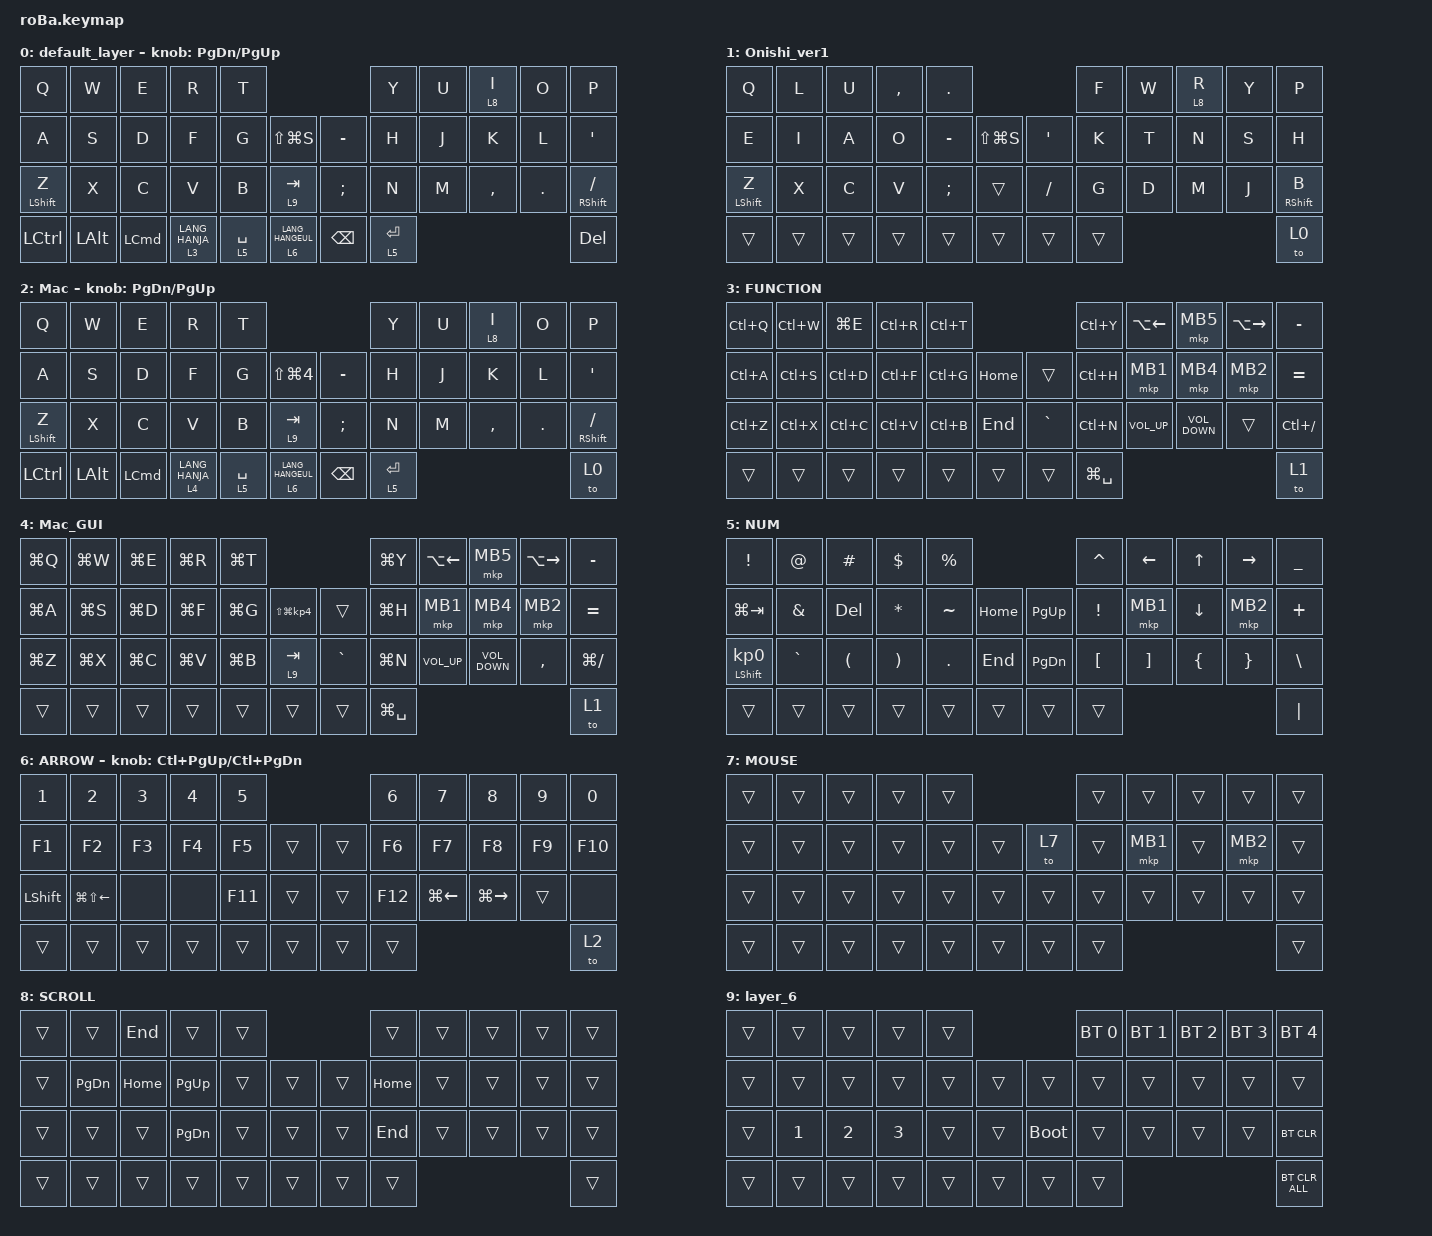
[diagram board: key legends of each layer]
#include <dt-bindings/zmk/mouse.h>
#include <behaviors.dtsi>
#include <dt-bindings/zmk/bt.h>
#include <dt-bindings/zmk/keys.h>
#include <dt-bindings/zmk/pointing.h>

#define MOUSE 7
#define SCROLL 8
#define NUM 9

&mt {
    flavor = "balanced";
    quick-tap-ms = <0>;
    tapping-term-ms = <150>;
};

/ {
    combos {
        compatible = "zmk,combos";

        double_quotation {
            bindings = <&kp DOUBLE_QUOTES>;
            key-positions = <20 21>;
        };

        eq {
            bindings = <&kp EQUAL>;
            key-positions = <24 25>;
        };

        ESC_ {
            bindings = <&kp ESC>;
            key-positions = <1 0>;
        };

        hyphen {
            bindings = <&kp MINUS>;
            key-positions = <9 8>;
        };
    };

    macros {
        to_layer_0: to_layer_0 {
            compatible = "zmk,behavior-macro-one-param";
            #binding-cells = <1>;
            bindings = <&to 0 &macro_param_1to1 &kp MACRO_PLACEHOLDER>;
            label = "TO_LAYER_0";
        };
    };

    behaviors {
        lt_to_layer_0: lt_to_layer_0 {
            compatible = "zmk,behavior-hold-tap";
            label = "LAYER_TAP_TO_0";
            bindings = <&mo>, <&lt_to_layer_0>;

            #binding-cells = <2>;
            tapping-term-ms = <150>;
        };
    };

    keymap {
        compatible = "zmk,keymap";

        default_layer {
            bindings = <
&kp Q             &kp W         &kp E             &kp R             &kp T                                             &kp Y        &kp U  &lt 8 I    &kp O    &kp P
&kp A             &kp S         &kp D             &kp F             &kp G        &kp LS(LG(S))         &kp MINUS      &kp H        &kp J  &kp K      &kp L    &kp SQT
&mt LEFT_SHIFT Z  &kp X         &kp C             &kp V             &kp B        &lt 9 TAB             &kp SEMICOLON  &kp N        &kp M  &kp COMMA  &kp DOT  &mt RIGHT_SHIFT SLASH
&kp LCTRL         &kp LEFT_ALT  &kp LEFT_COMMAND  &lt 3 LANG_HANJA  &lt 5 SPACE  &lt 6 LANG_HANGEUL    &kp BACKSPACE  &lt 5 ENTER                             &kp DEL
            >;

            sensor-bindings = <&inc_dec_kp PAGE_DOWN PAGE_UP>;
        };

        Onishi_ver1 {
            bindings = <
&kp Q             &kp L   &kp U   &kp COMMA  &kp DOT                                       &kp F   &kp W  &lt 8 R  &kp Y  &kp P
&kp E             &kp I   &kp A   &kp O      &kp MINUS  &kp LS(LG(S))    &kp SINGLE_QUOTE  &kp K   &kp T  &kp N    &kp S  &kp H
&mt LEFT_SHIFT Z  &kp X   &kp C   &kp V      &kp SEMI   &trans           &kp FSLH          &kp G   &kp D  &kp M    &kp J  &mt RIGHT_SHIFT B
&trans            &trans  &trans  &trans     &trans     &trans           &trans            &trans                         &to 0
            >;
        };

        Mac {
            bindings = <
&kp Q             &kp W         &kp E             &kp R             &kp T                                               &kp Y        &kp U  &lt 8 I    &kp O    &kp P
&kp A             &kp S         &kp D             &kp F             &kp G        &kp LS(LG(NUMBER_4))    &kp MINUS      &kp H        &kp J  &kp K      &kp L    &kp SQT
&mt LEFT_SHIFT Z  &kp X         &kp C             &kp V             &kp B        &lt 9 TAB               &kp SEMICOLON  &kp N        &kp M  &kp COMMA  &kp DOT  &mt RIGHT_SHIFT SLASH
&kp LCTRL         &kp LEFT_ALT  &kp LEFT_COMMAND  &lt 4 LANG_HANJA  &lt 5 SPACE  &lt 6 LANG_HANGEUL      &kp BACKSPACE  &lt 5 ENTER                             &to 0
            >;

            sensor-bindings = <&inc_dec_kp PAGE_DOWN PAGE_UP>;
        };

        FUNCTION {
            bindings = <
&kp LC(Q)  &kp LC(W)  &kp LG(E)  &kp LC(R)  &kp LC(T)                         &kp LC(Y)      &kp LA(LEFT)  &mkp MB5           &kp LA(RIGHT)  &kp MINUS
&kp LC(A)  &kp LC(S)  &kp LC(D)  &kp LC(F)  &kp LC(G)  &kp HOME    &trans     &kp LC(H)      &mkp MB1      &mkp MB4           &mkp MB2       &kp EQUAL
&kp LC(Z)  &kp LC(X)  &kp LC(C)  &kp LC(V)  &kp LC(B)  &kp END     &kp GRAVE  &kp LC(N)      &kp C_VOL_UP  &kp C_VOLUME_DOWN  &trans         &kp LC(SLASH)
&trans     &trans     &trans     &trans     &trans     &trans      &trans     &kp LG(SPACE)                                                  &to 1
            >;
        };

        Mac_GUI {
            bindings = <
&kp LG(Q)  &kp LG(W)  &kp LG(E)  &kp LG(R)  &kp LG(T)                                        &kp LG(Y)      &kp LA(LEFT)  &mkp MB5           &kp LA(RIGHT)  &kp MINUS
&kp LG(A)  &kp LG(S)  &kp LG(D)  &kp LG(F)  &kp LG(G)  &kp LS(LG(KP_NUMBER_4))    &trans     &kp LG(H)      &mkp MB1      &mkp MB4           &mkp MB2       &kp EQUAL
&kp LG(Z)  &kp LG(X)  &kp LG(C)  &kp LG(V)  &kp LG(B)  &lt 9 TAB                  &kp GRAVE  &kp LG(N)      &kp C_VOL_UP  &kp C_VOLUME_DOWN  &kp COMMA      &kp LG(SLASH)
&trans     &trans     &trans     &trans     &trans     &trans                     &trans     &kp LG(SPACE)                                                  &to 1
            >;
        };

        NUM {
            bindings = <
&kp EXCLAMATION             &kp AT_SIGN    &kp HASH              &kp DOLLAR             &kp PERCENT                             &kp CARET         &kp LEFT           &kp UP_ARROW    &kp RIGHT        &kp UNDERSCORE
&kp LG(TAB)                 &kp AMPERSAND  &kp DEL               &kp ASTERISK           &kp TILDE    &kp HOME    &kp PAGE_UP    &kp EXCLAMATION   &mkp MB1           &kp DOWN        &mkp MB2         &kp PLUS
&mt LEFT_SHIFT KP_NUMBER_0  &kp GRAVE      &kp LEFT_PARENTHESIS  &kp RIGHT_PARENTHESIS  &kp PERIOD   &kp END     &kp PAGE_DOWN  &kp LEFT_BRACKET  &kp RIGHT_BRACKET  &kp LEFT_BRACE  &kp RIGHT_BRACE  &kp BACKSLASH
&trans                      &trans         &trans                &trans                 &trans       &trans      &trans         &trans                                                                &kp PIPE
            >;
        };

        ARROW {
            bindings = <
&kp N1          &kp NUMBER_2            &kp NUMBER_3  &kp NUMBER_4  &kp N5                     &kp NUMBER_6  &kp N7        &kp N8         &kp N9  &kp N0
&kp F1          &kp F2                  &kp F3        &kp F4        &kp F5   &trans    &trans  &kp F6        &kp F7        &kp F8         &kp F9  &kp F10
&kp LEFT_SHIFT  &kp LG(LS(LEFT_ARROW))  &none         &none         &kp F11  &trans    &trans  &kp F12       &kp LG(LEFT)  &kp LG(RIGHT)  &trans  &none
&trans          &trans                  &trans        &trans        &trans   &trans    &trans  &trans                                             &to 2
            >;

            sensor-bindings = <&inc_dec_kp LC(PAGE_UP) LC(PAGE_DOWN)>;
        };

        MOUSE {
            bindings = <
&trans  &trans  &trans  &trans  &trans                    &trans  &trans    &trans  &trans    &trans
&trans  &trans  &trans  &trans  &trans  &trans    &to 7   &trans  &mkp MB1  &trans  &mkp MB2  &trans
&trans  &trans  &trans  &trans  &trans  &trans    &trans  &trans  &trans    &trans  &trans    &trans
&trans  &trans  &trans  &trans  &trans  &trans    &trans  &trans                              &trans
            >;
        };

        SCROLL {
            bindings = <
&trans  &trans         &kp END   &trans         &trans                    &trans    &trans  &trans  &trans  &trans
&trans  &kp PAGE_DOWN  &kp HOME  &kp PAGE_UP    &trans  &trans    &trans  &kp HOME  &trans  &trans  &trans  &trans
&trans  &trans         &trans    &kp PAGE_DOWN  &trans  &trans    &trans  &kp END   &trans  &trans  &trans  &trans
&trans  &trans         &trans    &trans         &trans  &trans    &trans  &trans                            &trans
            >;
        };

        layer_6 {
            bindings = <
&trans  &trans        &trans        &trans        &trans                         &bt BT_SEL 0  &bt BT_SEL 1  &bt BT_SEL 2  &bt BT_SEL 3  &bt BT_SEL 4
&trans  &trans        &trans        &trans        &trans  &trans    &trans       &trans        &trans        &trans        &trans        &trans
&trans  &kp NUMBER_1  &kp NUMBER_2  &kp NUMBER_3  &trans  &trans    &bootloader  &trans        &trans        &trans        &trans        &bt BT_CLR
&trans  &trans        &trans        &trans        &trans  &trans    &trans       &trans                                                  &bt BT_CLR_ALL
            >;
        };
    };
};
